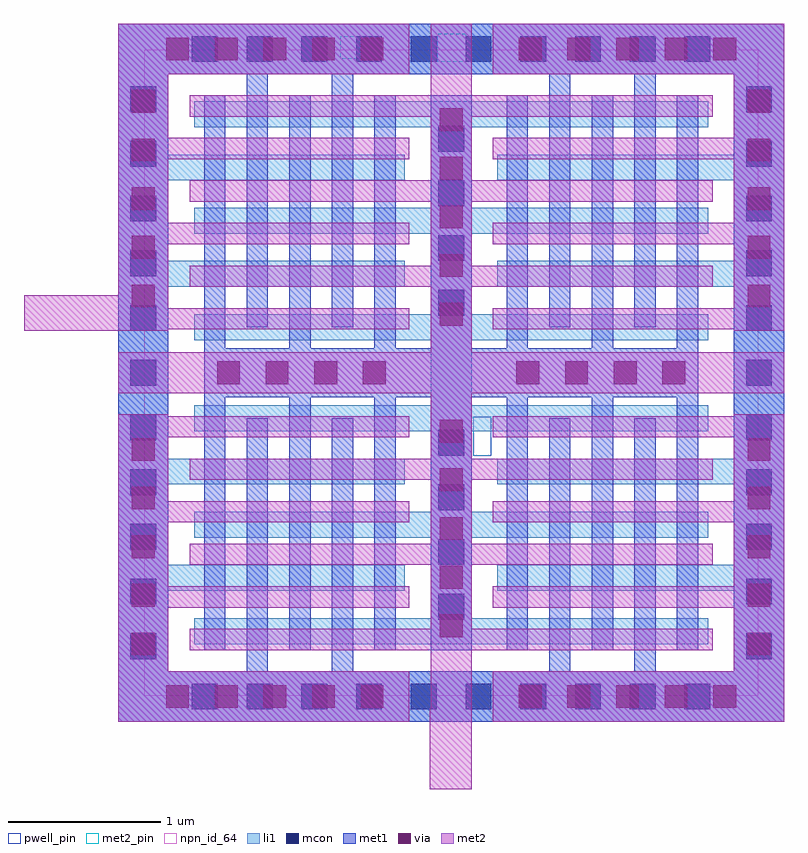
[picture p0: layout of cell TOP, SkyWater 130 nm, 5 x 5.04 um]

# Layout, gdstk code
import gdstk
lib = gdstk.Library(unit=1e-6, precision=1e-09)
def R(c, l, rs):  # rectangles x0, y0, x1, y1
    for r in rs: c.add(gdstk.rectangle(r[:2], r[2:], *l))
def A(c, l, x, y, w, h, nx, ny, dx, dy):  # array of equal rectangles
    R(c, l, [(x+i*dx, y+j*dy, x+i*dx+w, y+j*dy+h) for i in range(nx) for j in range(ny)])
def P(c, l, *ps):  # polygons
    for p in ps: c.add(gdstk.Polygon(p, *l))
li1 = (67, 20)
mcon = (67, 44)
met1 = (68, 20)
via = (68, 44)
met2_pin = (69, 16)
met2 = (69, 20)
npn_id_64 = (82, 64)
pwell_pin = (122, 16)

cap_vpp_1 = lib.new_cell('cap_vpp$1')
P(cap_vpp_1, li1, [(0,0),(0,4.59),(4.05,4.59),(4.05,4.26),(0.33,4.26),(0.33,3.73),(1.885,3.73),(1.885,3.56),(0.33,3.56),(0.33,3.03),(1.885,3.03),(1.885,2.86),(0.33,2.86),(0.33,1.73),(1.885,1.73),(1.885,1.56),(0.33,1.56),(0.33,1.03),(1.885,1.03),(1.885,0.86),(0.33,0.86),(0.33,0.33),(4.05,0.33),(4.05,0.86),(2.495,0.86),(2.495,1.03),(4.05,1.03),(4.05,1.56),(2.495,1.56),(2.495,1.73),(4.05,1.73),(4.05,2.86),(2.495,2.86),(2.495,3.03),(4.05,3.03),(4.05,3.56),(2.495,3.56),(2.495,3.73),(4.05,3.73),(4.05,4.59),(4.38,4.59),(4.38,0)],
  [(0.5,0.51),(0.5,0.68),(2.055,0.68),(2.055,1.21),(0.5,1.21),(0.5,1.38),(2.055,1.38),(2.055,1.91),(0.5,1.91),(0.5,2.08),(2.055,2.08),(2.055,2.51),(0.5,2.51),(0.5,2.68),(2.055,2.68),(2.055,3.21),(0.5,3.21),(0.5,3.38),(2.055,3.38),(2.055,3.91),(0.5,3.91),(0.5,4.08),(3.88,4.08),(3.88,3.91),(2.325,3.91),(2.325,3.38),(3.88,3.38),(3.88,3.21),(2.325,3.21),(2.325,2.68),(3.88,2.68),(3.88,2.51),(2.325,2.51),(2.325,2.08),(3.88,2.08),(3.88,1.91),(2.325,1.91),(2.325,1.38),(3.88,1.38),(3.88,1.21),(2.325,1.21),(2.325,0.68),(3.88,0.68),(3.88,0.51)])
A(cap_vpp_1, mcon, 0.485, 0.08, 0.17, 0.17, 10, 2, 0.36, 4.26)
A(cap_vpp_1, mcon, 0.08, 0.41, 0.17, 0.17, 1, 11, 0, 0.36)
A(cap_vpp_1, mcon, 4.13, 0.41, 0.17, 0.17, 1, 11, 0, 0.36)
A(cap_vpp_1, mcon, 2.105, 0.67, 0.17, 0.17, 1, 4, 0, 0.36)
A(cap_vpp_1, mcon, 2.105, 2.67, 0.17, 0.17, 1, 4, 0, 0.36)
P(cap_vpp_1, met1, [(0,0),(0,4.59),(4.05,4.59),(4.05,4.26),(3.535,4.26),(3.535,2.595),(3.395,2.595),(3.395,4.26),(2.975,4.26),(2.975,2.595),(2.835,2.595),(2.835,4.26),(1.545,4.26),(1.545,2.595),(1.405,2.595),(1.405,4.26),(0.985,4.26),(0.985,2.595),(0.845,2.595),(0.845,4.26),(0.33,4.26),(0.33,0.33),(0.845,0.33),(0.845,1.995),(0.985,1.995),(0.985,0.33),(1.405,0.33),(1.405,1.995),(1.545,1.995),(1.545,0.33),(2.835,0.33),(2.835,1.995),(2.975,1.995),(2.975,0.33),(3.395,0.33),(3.395,1.995),(3.535,1.995),(3.535,0.33),(4.05,0.33),(4.05,4.59),(4.38,4.59),(4.38,0)],
  [(0.565,0.47),(0.565,4.12),(0.705,4.12),(0.705,2.455),(1.125,2.455),(1.125,4.12),(1.265,4.12),(1.265,2.455),(1.685,2.455),(1.685,4.12),(1.825,4.12),(1.825,2.455),(2.055,2.455),(2.055,4.12),(2.325,4.12),(2.325,2.455),(2.555,2.455),(2.555,4.12),(2.695,4.12),(2.695,2.455),(3.115,2.455),(3.115,4.12),(3.255,4.12),(3.255,2.455),(3.675,2.455),(3.675,4.12),(3.815,4.12),(3.815,0.47),(3.675,0.47),(3.675,2.135),(3.255,2.135),(3.255,0.47),(3.115,0.47),(3.115,2.135),(2.695,2.135),(2.695,0.47),(2.555,0.47),(2.555,2.135),(2.325,2.135),(2.325,0.47),(2.055,0.47),(2.055,2.135),(1.825,2.135),(1.825,0.47),(1.685,0.47),(1.685,2.135),(1.265,2.135),(1.265,0.47),(1.125,0.47),(1.125,2.135),(0.705,2.135),(0.705,0.47)])
A(cap_vpp_1, via, 0.09, 0.435, 0.15, 0.15, 1, 5, 0, 0.32)
A(cap_vpp_1, via, 4.14, 0.435, 0.15, 0.15, 1, 5, 0, 0.32)
A(cap_vpp_1, via, 2.115, 0.555, 0.15, 0.15, 1, 5, 0, 0.32)
A(cap_vpp_1, via, 0.65, 2.22, 0.15, 0.15, 4, 1, 0.32, 0)
A(cap_vpp_1, via, 2.62, 2.22, 0.15, 0.15, 4, 1, 0.32, 0)
A(cap_vpp_1, via, 2.115, 2.605, 0.15, 0.15, 1, 5, 0, 0.32)
A(cap_vpp_1, via, 0.09, 2.725, 0.15, 0.15, 1, 5, 0, 0.32)
A(cap_vpp_1, via, 4.14, 2.725, 0.15, 0.15, 1, 5, 0, 0.32)
R(cap_vpp_1, via, [(0.315,0.09,0.465,0.24), (0.315,0.09,0.465,0.24), (0.635,0.09,0.785,0.24), (0.635,0.09,0.785,0.24), (0.955,0.09,1.105,0.24), (0.955,0.09,1.105,0.24), (1.275,0.09,1.425,0.24), (1.275,0.09,1.425,0.24), (1.595,0.09,1.745,0.24), (1.595,0.09,1.745,0.24), (2.635,0.09,2.785,0.24), (2.635,0.09,2.785,0.24), (2.955,0.09,3.105,0.24), (2.955,0.09,3.105,0.24), (3.275,0.09,3.425,0.24), (3.275,0.09,3.425,0.24), (3.595,0.09,3.745,0.24), (3.595,0.09,3.745,0.24), (3.915,0.09,4.065,0.24), (3.915,0.09,4.065,0.24), (0.315,4.35,0.465,4.5), (0.315,4.35,0.465,4.5), (0.635,4.35,0.785,4.5), (0.635,4.35,0.785,4.5), (0.955,4.35,1.105,4.5), (0.955,4.35,1.105,4.5), (1.275,4.35,1.425,4.5), (1.275,4.35,1.425,4.5), (1.595,4.35,1.745,4.5), (1.595,4.35,1.745,4.5), (2.635,4.35,2.785,4.5), (2.635,4.35,2.785,4.5), (2.955,4.35,3.105,4.5), (2.955,4.35,3.105,4.5), (3.275,4.35,3.425,4.5), (3.275,4.35,3.425,4.5), (3.595,4.35,3.745,4.5), (3.595,4.35,3.745,4.5), (3.915,4.35,4.065,4.5), (3.915,4.35,4.065,4.5)])
R(cap_vpp_1, met2_pin, [(2.1,4.34,2.29,4.525), (1.46,4.36,1.59,4.51)])
P(cap_vpp_1, met2, [(0,2.57),(0,4.59),(1.915,4.59),(1.915,4.26),(0.33,4.26),(0.33,3.84),(1.915,3.84),(1.915,3.7),(0.33,3.7),(0.33,3.28),(1.915,3.28),(1.915,3.14),(0.33,3.14),(0.33,2.72),(1.915,2.72),(1.915,2.58),(0.33,2.58),(0.33,2.57)],
  [(2.055,0),(2.055,0.47),(0.47,0.47),(0.47,0.61),(2.055,0.61),(2.055,1.03),(0.47,1.03),(0.47,1.17),(2.055,1.17),(2.055,1.59),(0.47,1.59),(0.47,1.73),(2.055,1.73),(2.055,2.16),(0,2.16),(0,2.43),(2.055,2.43),(2.055,2.86),(0.47,2.86),(0.47,3),(2.055,3),(2.055,3.42),(0.47,3.42),(0.47,3.56),(2.055,3.56),(2.055,3.98),(0.47,3.98),(0.47,4.12),(2.055,4.12),(2.055,4.59),(2.325,4.59),(2.325,4.12),(3.91,4.12),(3.91,3.98),(2.325,3.98),(2.325,3.56),(3.91,3.56),(3.91,3.42),(2.325,3.42),(2.325,3),(3.91,3),(3.91,2.86),(2.325,2.86),(2.325,2.43),(4.38,2.43),(4.38,2.16),(2.325,2.16),(2.325,1.73),(3.91,1.73),(3.91,1.59),(2.325,1.59),(2.325,1.17),(3.91,1.17),(3.91,1.03),(2.325,1.03),(2.325,0.61),(3.91,0.61),(3.91,0.47),(2.325,0.47),(2.325,0)],
  [(2.465,0),(2.465,0.33),(4.05,0.33),(4.05,0.75),(2.465,0.75),(2.465,0.89),(4.05,0.89),(4.05,1.31),(2.465,1.31),(2.465,1.45),(4.05,1.45),(4.05,1.87),(2.465,1.87),(2.465,2.01),(4.05,2.01),(4.05,2.02),(4.38,2.02),(4.38,0)],
  [(4.05,2.57),(4.05,2.58),(2.465,2.58),(2.465,2.72),(4.05,2.72),(4.05,3.14),(2.465,3.14),(2.465,3.28),(4.05,3.28),(4.05,3.7),(2.465,3.7),(2.465,3.84),(4.05,3.84),(4.05,4.26),(2.465,4.26),(2.465,4.59),(4.38,4.59),(4.38,2.57)],
  [(0,0),(0,2.02),(0.33,2.02),(0.33,2.01),(1.915,2.01),(1.915,1.87),(0.33,1.87),(0.33,1.45),(1.915,1.45),(1.915,1.31),(0.33,1.31),(0.33,0.89),(1.915,0.89),(1.915,0.75),(0.33,0.75),(0.33,0.33),(1.915,0.33),(1.915,0)])
R(cap_vpp_1, npn_id_64, [(0.17,0.17,4.21,4.42)])
R(cap_vpp_1, pwell_pin, [(2.335,1.75,2.455,2.005)])
cap_vpp_1.add(gdstk.Label('C0', (1.525,4.435), layer=69, texttype=5))
cap_vpp_1.add(gdstk.Label('C1', (2.195,4.43), layer=69, texttype=5))
cap_vpp_1.add(gdstk.Label('SUB', (2.395,1.875), layer=64, texttype=59))

top = lib.new_cell('TOP')
R(top, met2, [(4.625,-1.13,4.9,-0.6), (1.955,1.885,2.63,2.12)])
top.add(gdstk.Reference(cap_vpp_1, (2.575,-0.685)))

lib.write_gds('TOP.gds')
